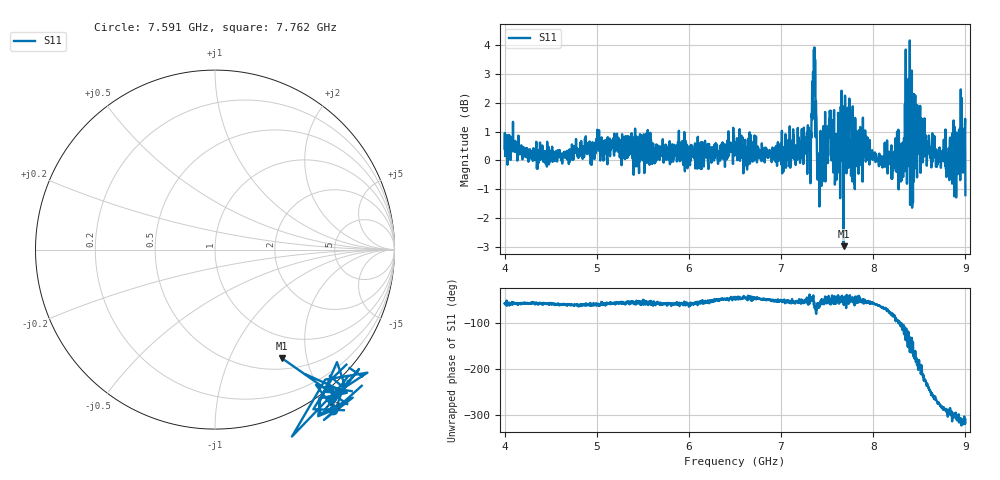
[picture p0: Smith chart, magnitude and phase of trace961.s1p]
! Created with skrf 1.8.0 (http://scikit-rf.org).
# Hz S RI R 50.0
!freq ReS11 ImS11
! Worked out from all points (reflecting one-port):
!   1601 points, 4 GHz to 9 GHz, reference 50 ohm
!   lowest |S11| = -3.0 dB at 7.678 GHz (marker M1), VSWR 5.89, Z = 32.6 - j79.6 ohm
!   phase of S11 starts at -58 deg and turns -252 deg over the sweep
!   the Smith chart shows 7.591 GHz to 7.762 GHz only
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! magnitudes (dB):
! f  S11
! 4 GHz  0.4
! 4.625 GHz  -0.1
! 5.25 GHz  0.1
! 5.875 GHz  0.1
! 6.5 GHz  0.6
! 7.125 GHz  0.3
! 7.303 GHz  0.3
! 7.356 GHz  3.8
! 7.372 GHz  2.8
! 7.4 GHz  0.2
! 7.428 GHz  1.0
! 7.512 GHz  0.8
! 7.591 GHz  0.9
! 7.678 GHz  -3.0
! 7.75 GHz  0.6
! 7.775 GHz  1.6
! 8.097 GHz  0.1
! 8.247 GHz  -0.1
! 8.3 GHz  -0.7
! 8.322 GHz  -0.4
! 8.334 GHz  0.8
! 8.375 GHz  0.2
! 8.425 GHz  -0.8
! 8.459 GHz  -0.1
! 8.531 GHz  1.4
! 8.803 GHz  -0.5
! 8.972 GHz  0.4
! 9 GHz  -1.2
